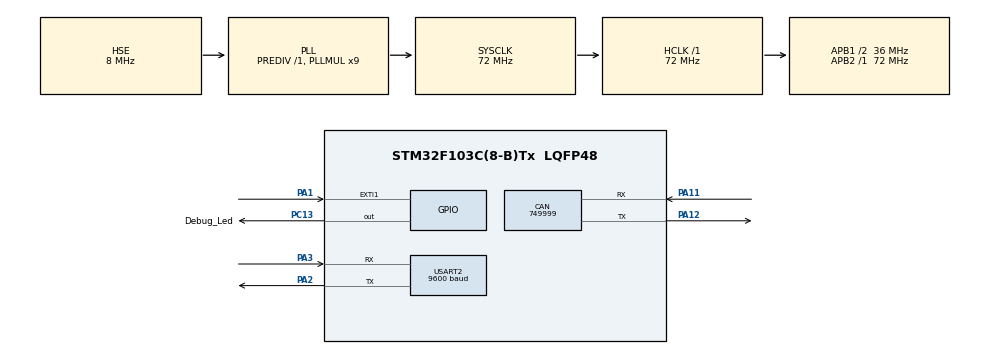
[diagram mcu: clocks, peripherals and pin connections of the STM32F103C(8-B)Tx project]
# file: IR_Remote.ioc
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CAN.CalculateBaudRate=749999
CAN.CalculateTimeBit=1333
CAN.CalculateTimeQuantum=444.44444444444446
Mcu.Family=STM32F1
Mcu.Name=STM32F103C(8-B)Tx
Mcu.Package=LQFP48
NVIC.EXTI1_IRQn=true\:0\:0\:false\:false\:true\:true\:true\:true
NVIC.PriorityGroup=NVIC_PRIORITYGROUP_4
PA1.GPIO_ModeDefaultEXTI=GPIO_MODE_IT_FALLING
PA1.GPIO_PuPd=GPIO_PULLUP
PA1.Signal=GPXTI1
PA11.Mode=CAN_Activate
PA11.Signal=CAN_RX
PA12.Mode=CAN_Activate
PA12.Signal=CAN_TX
PA13.Mode=Serial_Wire
PA13.Signal=SYS_JTMS-SWDIO
PA14.Mode=Serial_Wire
PA14.Signal=SYS_JTCK-SWCLK
PA2.Mode=Asynchronous
PA2.Signal=USART2_TX
PA3.Mode=Asynchronous
PA3.Signal=USART2_RX
PC13-TAMPER-RTC.GPIO_Label=Debug_Led
PC13-TAMPER-RTC.Signal=GPIO_Output
PD0-OSC_IN.Mode=HSE-External-Oscillator
PD0-OSC_IN.Signal=RCC_OSC_IN
PD1-OSC_OUT.Mode=HSE-External-Oscillator
PD1-OSC_OUT.Signal=RCC_OSC_OUT
ProjectManager.HeapSize=0x200
ProjectManager.StackSize=0x400
ProjectManager.TargetToolchain=STM32CubeIDE
RCC.AHBFreq_Value=72000000
RCC.APB1CLKDivider=RCC_HCLK_DIV2
RCC.APB1Freq_Value=36000000
RCC.APB1TimFreq_Value=72000000
RCC.APB2Freq_Value=72000000
RCC.APB2TimFreq_Value=72000000
RCC.HCLKFreq_Value=72000000
RCC.PLLMUL=RCC_PLL_MUL9
RCC.PLLSourceVirtual=RCC_PLLSOURCE_HSE
RCC.SYSCLKFreq_VALUE=72000000
RCC.SYSCLKSource=RCC_SYSCLKSOURCE_PLLCLK
RCC.USBFreq_Value=72000000
TIM4.Prescaler=71
USART2.BaudRate=9600
USART2.VirtualMode=VM_ASYNC
VP_TIM4_VS_ClockSourceINT.Mode=Internal
board=custom

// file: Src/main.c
/* USER CODE BEGIN Header */
/**
 ******************************************************************************
 * @file           : main.c
 * @brief          : Main program body
 ******************************************************************************
 * @attention
 *
 * Copyright (c) 2025 STMicroelectronics.
 * All rights reserved.
 *
 * This software is licensed under terms that can be found in the LICENSE file
 * in the root directory of this software component.
 * If no LICENSE file comes with this software, it is provided AS-IS.
 *
 ******************************************************************************
 */
/* USER CODE END Header */
#include "main.h"

CAN_HandleTypeDef hcan;

TIM_HandleTypeDef htim4;

UART_HandleTypeDef huart2;

void SystemClock_Config(void);
static void MX_GPIO_Init(void);
static void MX_USART2_UART_Init(void);
static void MX_TIM4_Init(void);
static void MX_CAN_Init(void);

/* USER CODE BEGIN 0 */
uint32_t tempCode;
uint8_t bitIndex;
uint8_t cmd;
uint8_t cmdli;
uint32_t code;
int _write(int fd, unsigned char *buf, int len)
{
  if (fd == 1 || fd == 2)
  {                                            // stdout or stderr ?
    HAL_UART_Transmit(&huart2, buf, len, 999); // Print to the UART
  }
  return len;
}

void HAL_GPIO_EXTI_Callback(uint16_t GPIO_Pin)
{
  /* Prevent unused argument(s) compilation warning */
  UNUSED(GPIO_Pin);
  if (GPIO_Pin == GPIO_PIN_1)
  {
    if (__HAL_TIM_GET_COUNTER(&htim4) > 8000)
    {
      tempCode = 0;
      bitIndex = 0;
    }
    else if (__HAL_TIM_GET_COUNTER(&htim4) > 1700)
    {
      tempCode |= (1UL << (31 - bitIndex)); // write 1
      bitIndex++;
    }
    else if (__HAL_TIM_GET_COUNTER(&htim4) > 1000)
    {
      tempCode &= ~(1UL << (31 - bitIndex)); // write 0
      bitIndex++;
    }
    if (bitIndex == 32)
    {
      cmdli = ~tempCode;   // Logical inverted last 8 bits
      cmd = tempCode >> 8; // Second last 8 bits
      if (cmdli == cmd)    // Check for errors
      {
        code = tempCode; // If no bit errors
        // Do your main work HERE
        printf("Code: %08lX\r\n", code);
      }
      bitIndex = 0;
    }
    __HAL_TIM_SET_COUNTER(&htim4, 0);
  }
}
/* USER CODE END 0 */

int main(void)
{

  /* MCU Configuration--------------------------------------------------------*/

  /* Reset of all peripherals, Initializes the Flash interface and the Systick. */
  HAL_Init();

  /* Configure the system clock */
  SystemClock_Config();

  /* Initialize all configured peripherals */
  MX_GPIO_Init();
  MX_USART2_UART_Init();
  MX_TIM4_Init();
  MX_CAN_Init();
  /* USER CODE BEGIN 2 */
  HAL_TIM_Base_Start(&htim4);
  __HAL_TIM_SET_COUNTER(&htim4, 0);
  /* USER CODE END 2 */

  /* Infinite loop */
  /* USER CODE BEGIN WHILE */
  while (1)
  {
    // printf("Hello, World!\r\n");
    HAL_GPIO_TogglePin(Debug_Led_GPIO_Port, Debug_Led_Pin);
    HAL_Delay(500);
    /* USER CODE END WHILE */

  }
}

void SystemClock_Config(void)
{
  RCC_OscInitTypeDef RCC_OscInitStruct = {0};
  RCC_ClkInitTypeDef RCC_ClkInitStruct = {0};

  /** Initializes the RCC Oscillators according to the specified parameters
  * in the RCC_OscInitTypeDef structure.
  */
  RCC_OscInitStruct.OscillatorType = RCC_OSCILLATORTYPE_HSE;
  RCC_OscInitStruct.HSEState = RCC_HSE_ON;
  RCC_OscInitStruct.HSEPredivValue = RCC_HSE_PREDIV_DIV1;
  RCC_OscInitStruct.HSIState = RCC_HSI_ON;
  RCC_OscInitStruct.PLL.PLLState = RCC_PLL_ON;
  RCC_OscInitStruct.PLL.PLLSource = RCC_PLLSOURCE_HSE;
  RCC_OscInitStruct.PLL.PLLMUL = RCC_PLL_MUL9;
  if (HAL_RCC_OscConfig(&RCC_OscInitStruct) != HAL_OK)
  {
    Error_Handler();
  }

  /** Initializes the CPU, AHB and APB buses clocks
  */
  RCC_ClkInitStruct.ClockType = RCC_CLOCKTYPE_HCLK|RCC_CLOCKTYPE_SYSCLK
                              |RCC_CLOCKTYPE_PCLK1|RCC_CLOCKTYPE_PCLK2;
  RCC_ClkInitStruct.SYSCLKSource = RCC_SYSCLKSOURCE_PLLCLK;
  RCC_ClkInitStruct.AHBCLKDivider = RCC_SYSCLK_DIV1;
  RCC_ClkInitStruct.APB1CLKDivider = RCC_HCLK_DIV2;
  RCC_ClkInitStruct.APB2CLKDivider = RCC_HCLK_DIV1;

  if (HAL_RCC_ClockConfig(&RCC_ClkInitStruct, FLASH_LATENCY_2) != HAL_OK)
  {
    Error_Handler();
  }
}

static void MX_CAN_Init(void)
{

  hcan.Instance = CAN1;
  hcan.Init.Prescaler = 16;
  hcan.Init.Mode = CAN_MODE_NORMAL;
  hcan.Init.SyncJumpWidth = CAN_SJW_1TQ;
  hcan.Init.TimeSeg1 = CAN_BS1_1TQ;
  hcan.Init.TimeSeg2 = CAN_BS2_1TQ;
  hcan.Init.TimeTriggeredMode = DISABLE;
  hcan.Init.AutoBusOff = DISABLE;
  hcan.Init.AutoWakeUp = DISABLE;
  hcan.Init.AutoRetransmission = DISABLE;
  hcan.Init.ReceiveFifoLocked = DISABLE;
  hcan.Init.TransmitFifoPriority = DISABLE;
  if (HAL_CAN_Init(&hcan) != HAL_OK)
  {
    Error_Handler();
  }

}

static void MX_TIM4_Init(void)
{

  TIM_ClockConfigTypeDef sClockSourceConfig = {0};
  TIM_MasterConfigTypeDef sMasterConfig = {0};

  htim4.Instance = TIM4;
  htim4.Init.Prescaler = 71;
  htim4.Init.CounterMode = TIM_COUNTERMODE_UP;
  htim4.Init.Period = 65535;
  htim4.Init.ClockDivision = TIM_CLOCKDIVISION_DIV1;
  htim4.Init.AutoReloadPreload = TIM_AUTORELOAD_PRELOAD_DISABLE;
  if (HAL_TIM_Base_Init(&htim4) != HAL_OK)
  {
    Error_Handler();
  }
  sClockSourceConfig.ClockSource = TIM_CLOCKSOURCE_INTERNAL;
  if (HAL_TIM_ConfigClockSource(&htim4, &sClockSourceConfig) != HAL_OK)
  {
    Error_Handler();
  }
  sMasterConfig.MasterOutputTrigger = TIM_TRGO_RESET;
  sMasterConfig.MasterSlaveMode = TIM_MASTERSLAVEMODE_DISABLE;
  if (HAL_TIMEx_MasterConfigSynchronization(&htim4, &sMasterConfig) != HAL_OK)
  {
    Error_Handler();
  }

}

static void MX_USART2_UART_Init(void)
{

  huart2.Instance = USART2;
  huart2.Init.BaudRate = 9600;
  huart2.Init.WordLength = UART_WORDLENGTH_8B;
  huart2.Init.StopBits = UART_STOPBITS_1;
  huart2.Init.Parity = UART_PARITY_NONE;
  huart2.Init.Mode = UART_MODE_TX_RX;
  huart2.Init.HwFlowCtl = UART_HWCONTROL_NONE;
  huart2.Init.OverSampling = UART_OVERSAMPLING_16;
  if (HAL_UART_Init(&huart2) != HAL_OK)
  {
    Error_Handler();
  }

}

static void MX_GPIO_Init(void)
{
  GPIO_InitTypeDef GPIO_InitStruct = {0};

  /* GPIO Ports Clock Enable */
  __HAL_RCC_GPIOC_CLK_ENABLE();
  __HAL_RCC_GPIOD_CLK_ENABLE();
  __HAL_RCC_GPIOA_CLK_ENABLE();

  /*Configure GPIO pin Output Level */
  HAL_GPIO_WritePin(Debug_Led_GPIO_Port, Debug_Led_Pin, GPIO_PIN_RESET);

  /*Configure GPIO pin : Debug_Led_Pin */
  GPIO_InitStruct.Pin = Debug_Led_Pin;
  GPIO_InitStruct.Mode = GPIO_MODE_OUTPUT_PP;
  GPIO_InitStruct.Pull = GPIO_NOPULL;
  GPIO_InitStruct.Speed = GPIO_SPEED_FREQ_LOW;
  HAL_GPIO_Init(Debug_Led_GPIO_Port, &GPIO_InitStruct);

  /*Configure GPIO pin : PA1 */
  GPIO_InitStruct.Pin = GPIO_PIN_1;
  GPIO_InitStruct.Mode = GPIO_MODE_IT_FALLING;
  GPIO_InitStruct.Pull = GPIO_PULLUP;
  HAL_GPIO_Init(GPIOA, &GPIO_InitStruct);

  /* EXTI interrupt init*/
  HAL_NVIC_SetPriority(EXTI1_IRQn, 0, 0);
  HAL_NVIC_EnableIRQ(EXTI1_IRQn);

}

void Error_Handler(void)
{
  __disable_irq();
  while (1)
  {
  }
}
